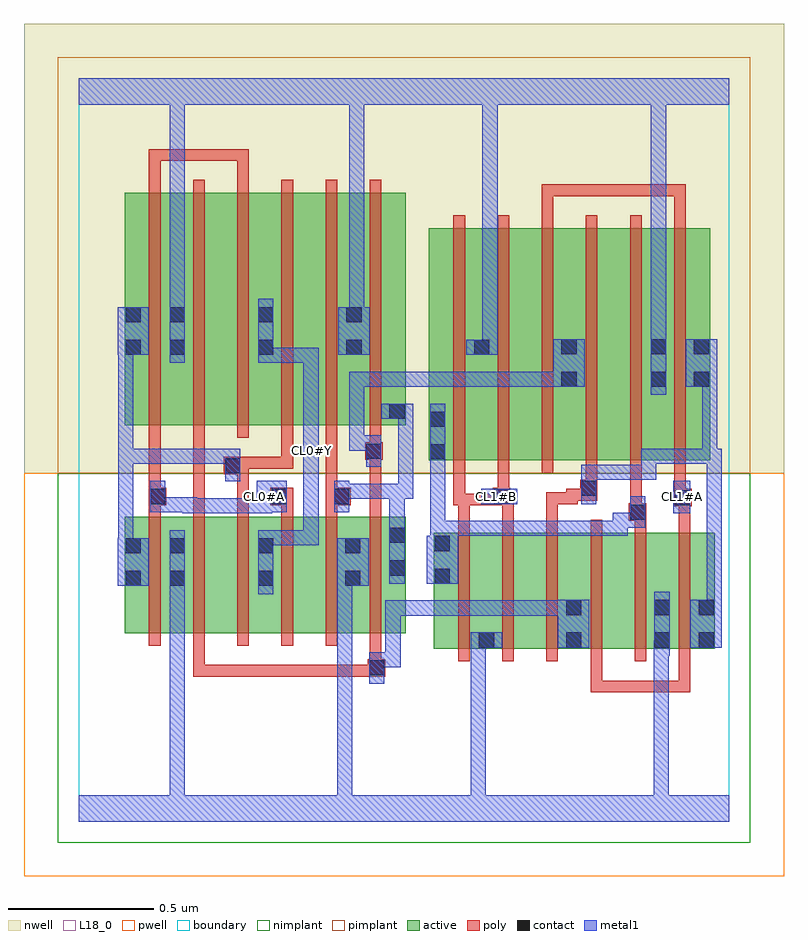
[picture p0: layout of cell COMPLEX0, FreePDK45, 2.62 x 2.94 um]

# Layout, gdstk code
import gdstk
lib = gdstk.Library(unit=1e-6, precision=1e-09)
def R(c, l, rs):  # rectangles x0, y0, x1, y1
    for r in rs: c.add(gdstk.rectangle(r[:2], r[2:], *l))
def A(c, l, x, y, w, h, nx, ny, dx, dy):  # array of equal rectangles
    R(c, l, [(x+i*dx, y+j*dy, x+i*dx+w, y+j*dy+h) for i in range(nx) for j in range(ny)])
active = (1, 0)
pwell = (2, 0)
nwell = (3, 0)
nimplant = (4, 0)
pimplant = (5, 0)
poly = (9, 0)
contact = (10, 0)
metal1 = (11, 0)
L18_0 = (18, 0)
boundary = (235, 0)

complex0 = lib.new_cell('COMPLEX0')
R(complex0, active, [(1.222,0.596,1.434,0.996), (1.374,0.596,1.554,0.996), (1.374,0.596,1.434,0.656), (1.554,0.596,1.734,0.996), (1.674,0.596,1.734,0.996), (1.674,0.596,1.858,0.996), (1.858,0.596,2.038,0.996), (1.978,0.596,2.19,0.996), (1.978,0.596,2.038,0.768), (2.13,0.596,2.19,0.996), (0.158,0.65,0.218,1.05), (0.158,0.65,0.37,1.05), (0.31,0.65,0.37,1.05), (0.31,0.65,0.49,1.05), (0.49,0.65,0.674,1.05), (0.614,0.65,0.794,1.05), (0.614,0.65,0.674,0.98), (0.794,0.65,0.974,1.05), (0.914,0.65,1.126,1.05), (0.914,0.756,0.974,0.98), (1.066,0.756,1.126,1.05), (1.222,0.756,1.282,0.996), (1.206,1.244,1.266,2.044), (1.206,1.244,1.418,2.044), (1.358,1.244,1.538,2.044), (1.538,1.244,1.718,2.044), (1.658,1.244,1.718,2.044), (1.658,1.244,1.842,2.044), (1.842,1.244,2.026,2.044), (1.966,1.244,2.026,2.044), (1.966,1.244,2.174,2.044), (2.114,1.244,2.174,2.044), (0.158,1.366,0.218,2.166), (0.158,1.366,0.37,2.166), (0.31,1.366,0.37,2.166), (0.31,1.366,0.49,2.166), (0.49,1.366,0.674,2.166), (0.614,1.366,0.794,2.166), (0.794,1.366,0.978,2.166), (0.918,1.366,1.126,2.166), (1.066,1.366,1.126,2.044), (0.918,1.384,0.978,2.044), (0.614,1.604,0.674,2.044), (1.358,1.604,1.418,2.044)])
R(complex0, pwell, [(-0.188,-0.188,2.428,1.2)])
R(complex0, nwell, [(-0.188,1.2,2.428,2.748)])
R(complex0, nimplant, [(-0.072,-0.072,2.312,1.2)])
R(complex0, pimplant, [(-0.072,1.2,2.312,2.632)])
A(complex0, poly, 1.306, 0.552, 0.04, 0.488, 6, 1, 0.152, 0)
A(complex0, poly, 0.242, 0.606, 0.04, 0.488, 6, 1, 0.152, 0)
A(complex0, poly, 1.29, 1.2, 0.04, 0.888, 6, 1, 0.152, 0)
A(complex0, poly, 0.242, 1.322, 0.04, 0.888, 6, 1, 0.152, 0)
R(complex0, poly, [(1.762,0.446,1.802,0.592), (1.762,0.446,1.802,0.486), (1.762,0.446,1.93,0.486), (1.89,0.446,1.93,0.486), (1.89,0.446,1.93,0.486), (1.89,0.446,1.93,0.486), (1.89,0.446,2.106,0.486), (2.066,0.446,2.106,0.592), (2.066,0.446,2.106,0.486), (2.066,0.446,2.106,0.486), (2.066,0.446,2.106,0.486), (0.394,0.5,0.434,0.646), (0.394,0.5,0.434,0.54), (0.394,0.5,0.434,0.54), (0.394,0.5,0.434,0.54), (0.394,0.5,0.54,0.54), (0.5,0.5,0.54,0.54), (0.5,0.5,0.784,0.54), (0.744,0.5,0.784,0.54), (0.744,0.5,0.784,0.54), (0.744,0.5,0.784,0.54), (0.744,0.5,0.92,0.54), (0.88,0.5,0.92,0.54), (0.88,0.5,0.92,0.54), (0.88,0.5,0.92,0.54), (0.88,0.5,1.036,0.54), (0.996,0.5,1.036,0.54), (0.996,0.5,1.036,0.54), (0.996,0.5,1.056,0.56), (1.002,0.52,1.042,0.646), (1.306,1,1.346,1.13), (1.458,1,1.498,1.13), (1.61,1,1.65,1.134), (1.914,1,1.954,1.076), (2.066,1,2.106,1.126), (1.894,1.036,1.954,1.096), (0.242,1.054,0.282,1.13), (0.394,1.054,0.434,1.13), (0.546,1.054,0.586,1.236), (0.698,1.054,0.738,1.13), (0.85,1.054,0.89,1.13), (1.002,1.054,1.042,1.286), (1.898,1.056,1.938,1.096), (1.898,1.056,1.938,1.096), (1.898,1.056,1.938,1.24), (2.05,1.086,2.11,1.146), (0.242,1.09,0.302,1.15), (0.394,1.09,0.434,1.13), (0.394,1.09,0.434,1.13), (0.394,1.09,0.434,1.13), (0.394,1.09,0.434,1.362), (0.66,1.09,0.738,1.15), (0.85,1.09,0.936,1.15), (1.29,1.09,1.33,1.24), (1.29,1.09,1.346,1.13), (1.306,1.09,1.346,1.13), (1.306,1.09,1.346,1.13), (1.306,1.09,1.346,1.13), (1.306,1.09,1.346,1.13), (1.306,1.09,1.486,1.13), (1.426,1.09,1.486,1.15), (1.446,1.09,1.486,1.13), (1.446,1.09,1.498,1.13), (1.61,1.094,1.65,1.134), (1.61,1.094,1.65,1.134), (1.61,1.094,1.65,1.134), (1.61,1.094,1.718,1.134), (1.678,1.094,1.718,1.146), (1.678,1.106,1.766,1.146), (1.726,1.106,1.786,1.178), (2.05,1.106,2.09,1.146), (2.05,1.106,2.09,1.146), (2.05,1.106,2.09,1.24), (0.242,1.11,0.282,1.15), (0.242,1.11,0.282,1.15), (0.242,1.11,0.282,1.362), (0.85,1.11,0.89,1.15), (0.85,1.11,0.89,1.15), (0.85,1.11,0.89,1.362), (1.442,1.11,1.482,1.24), (1.746,1.138,1.786,1.24), (0.5,1.196,0.586,1.256), (0.546,1.196,0.586,1.236), (0.546,1.196,0.586,1.236), (0.546,1.216,0.738,1.256), (0.698,1.216,0.738,1.362), (0.698,1.216,0.738,1.256), (0.698,1.216,0.738,1.256), (0.698,1.216,0.738,1.256), (0.986,1.246,1.046,1.306), (1.002,1.246,1.042,1.286), (1.002,1.246,1.042,1.286), (1.002,1.266,1.042,1.362), (1.594,2.048,1.634,2.194), (2.05,2.048,2.09,2.194), (1.594,2.154,1.634,2.194), (1.594,2.154,1.634,2.194), (1.594,2.154,1.634,2.194), (1.594,2.154,1.824,2.194), (1.784,2.154,1.824,2.194), (1.784,2.154,1.824,2.194), (1.784,2.154,1.824,2.194), (1.784,2.154,1.984,2.194), (1.944,2.154,1.984,2.194), (1.944,2.154,2.09,2.194), (2.05,2.154,2.09,2.194), (2.05,2.154,2.09,2.194), (2.05,2.154,2.09,2.194), (0.242,2.17,0.282,2.316), (0.546,2.17,0.586,2.316), (0.242,2.276,0.282,2.316), (0.242,2.276,0.282,2.316), (0.242,2.276,0.282,2.316), (0.242,2.276,0.434,2.316), (0.394,2.276,0.434,2.316), (0.394,2.276,0.434,2.316), (0.394,2.276,0.434,2.316), (0.394,2.276,0.586,2.316), (0.546,2.276,0.586,2.316)])
A(complex0, contact, 0.314, 1.608, 0.052, 0.052, 3, 2, 0.304, 0.112)
R(complex0, contact, [(1,0.504,1.052,0.556), (1.378,0.6,1.43,0.652), (1.678,0.6,1.73,0.652), (1.982,0.6,2.034,0.652), (2.134,0.6,2.186,0.652), (1.678,0.712,1.73,0.764), (1.982,0.712,2.034,0.764), (2.134,0.712,2.186,0.764), (0.162,0.812,0.214,0.864), (0.314,0.812,0.366,0.864), (0.618,0.812,0.67,0.864), (0.918,0.812,0.97,0.864), (1.226,0.82,1.278,0.872), (1.07,0.848,1.122,0.9), (0.162,0.924,0.214,0.976), (0.314,0.924,0.366,0.976), (0.618,0.924,0.67,0.976), (0.918,0.924,0.97,0.976), (1.226,0.932,1.278,0.984), (1.07,0.96,1.122,1.012), (1.898,1.04,1.95,1.092), (2.054,1.09,2.106,1.142), (0.246,1.094,0.298,1.146), (0.664,1.094,0.716,1.146), (0.88,1.094,0.932,1.146), (1.43,1.094,1.482,1.146), (1.73,1.122,1.782,1.174), (0.504,1.2,0.556,1.252), (1.21,1.248,1.262,1.3), (0.99,1.25,1.042,1.302), (1.21,1.36,1.262,1.412), (1.07,1.388,1.122,1.44), (1.662,1.498,1.714,1.55), (1.97,1.498,2.022,1.55), (2.118,1.498,2.17,1.55), (0.162,1.608,0.214,1.66), (1.362,1.608,1.414,1.66), (1.662,1.61,1.714,1.662), (1.97,1.61,2.022,1.662), (2.118,1.61,2.17,1.662), (0.162,1.72,0.214,1.772)])
R(complex0, metal1, [(0,0,2.24,0.092), (0.314,0.04,0.366,0.092), (0.314,0.04,0.366,0.092), (0.314,0.04,0.366,0.092), (0.314,0.04,0.366,0.092), (0.314,0.04,0.366,0.092), (0.314,0.04,0.366,0.092), (0.314,0.04,0.366,0.092), (0.314,0.04,0.366,0.092), (0.314,0.04,0.366,0.092), (0.314,0.04,0.366,0.092), (0.314,0.04,0.366,0.836), (0.89,0.04,0.942,0.092), (0.89,0.04,0.942,0.092), (0.89,0.04,0.942,0.092), (0.89,0.04,0.942,0.092), (0.89,0.04,0.942,0.092), (0.89,0.04,0.942,0.092), (0.89,0.04,0.942,0.092), (0.89,0.04,0.942,0.092), (0.89,0.04,0.942,0.092), (0.89,0.04,0.942,0.092), (0.89,0.04,0.942,0.092), (0.89,0.04,0.942,0.092), (0.89,0.04,0.942,0.864), (1.35,0.04,1.402,0.092), (1.35,0.04,1.402,0.092), (1.35,0.04,1.402,0.092), (1.35,0.04,1.402,0.092), (1.35,0.04,1.402,0.092), (1.35,0.04,1.402,0.092), (1.35,0.04,1.402,0.092), (1.35,0.04,1.402,0.092), (1.35,0.04,1.402,0.092), (1.35,0.04,1.402,0.092), (1.35,0.04,1.402,0.652), (1.98,0.04,2.032,0.092), (1.98,0.04,2.032,0.092), (1.98,0.04,2.032,0.092), (1.98,0.04,2.032,0.092), (1.98,0.04,2.032,0.092), (1.98,0.04,2.032,0.092), (1.98,0.04,2.032,0.624), (1,0.476,1.052,0.584), (1,0.532,1.108,0.584), (1.056,0.532,1.108,0.584), (1.056,0.532,1.108,0.584), (1.056,0.532,1.108,0.584), (1.056,0.532,1.108,0.762), (1.98,0.572,2.032,0.624), (1.98,0.572,2.032,0.624), (1.98,0.572,2.034,0.624), (1.982,0.572,2.034,0.624), (1.982,0.572,2.034,0.624), (1.982,0.572,2.034,0.624), (1.982,0.572,2.034,0.792), (1.35,0.6,1.402,0.652), (1.35,0.6,1.402,0.652), (1.35,0.6,1.458,0.652), (1.65,0.6,1.758,0.764), (2.106,0.6,2.214,0.764), (1.056,0.71,1.108,0.762), (1.056,0.71,1.108,0.762), (1.056,0.71,1.108,0.762), (1.056,0.71,1.276,0.762), (1.224,0.71,1.276,0.762), (1.224,0.71,1.276,0.762), (1.224,0.71,1.276,0.762), (1.224,0.71,1.416,0.762), (1.364,0.71,1.416,0.762), (1.364,0.71,1.416,0.762), (1.364,0.71,1.416,0.762), (1.364,0.71,1.416,0.762), (1.364,0.71,1.416,0.762), (1.364,0.71,1.526,0.762), (1.474,0.71,1.526,0.762), (1.474,0.71,1.526,0.762), (1.474,0.71,1.526,0.762), (1.474,0.71,1.702,0.762), (2.162,0.712,2.214,1.284), (2.162,0.712,2.214,0.764), (2.162,0.712,2.214,0.764), (0.314,0.784,0.366,0.836), (0.314,0.784,0.366,0.836), (0.314,0.784,0.366,1.004), (0.618,0.784,0.67,1.004), (0.134,0.812,0.242,0.976), (0.89,0.812,0.998,0.976), (1.07,0.82,1.122,1.04), (1.198,0.82,1.306,0.984), (0.136,0.924,0.188,1.284), (1.21,0.932,1.262,1.036), (0.618,0.952,0.67,1.004), (0.618,0.952,0.67,1.004), (0.618,0.952,0.826,1.004), (0.774,0.952,0.826,1.004), (0.774,0.952,0.826,1.278), (1.21,0.984,1.262,1.036), (1.21,0.984,1.262,1.036), (1.21,0.984,1.262,1.036), (1.21,0.984,1.416,1.036), (1.21,0.984,1.262,1.272), (1.364,0.984,1.416,1.036), (1.364,0.984,1.416,1.036), (1.364,0.984,1.416,1.036), (1.364,0.984,1.562,1.036), (1.51,0.984,1.562,1.036), (1.51,0.984,1.562,1.036), (1.51,0.984,1.562,1.036), (1.51,0.984,1.672,1.036), (1.62,0.984,1.672,1.036), (1.62,0.984,1.672,1.036), (1.62,0.984,1.672,1.036), (1.62,0.984,1.89,1.036), (1.838,0.984,1.89,1.064), (1.07,0.988,1.122,1.164), (1.838,1.012,1.95,1.064), (1.898,1.012,1.95,1.12), (0.356,1.062,0.408,1.118), (0.356,1.062,0.556,1.114), (0.504,1.062,0.556,1.114), (0.504,1.062,0.556,1.114), (0.504,1.062,0.556,1.114), (0.504,1.062,0.666,1.114), (0.614,1.062,0.666,1.118), (2.046,1.062,2.106,1.174), (0.246,1.066,0.298,1.174), (0.246,1.066,0.408,1.118), (0.356,1.066,0.408,1.118), (0.356,1.066,0.408,1.118), (0.614,1.066,0.666,1.118), (0.614,1.066,0.716,1.174), (0.88,1.066,0.932,1.174), (1.386,1.094,1.51,1.146), (1.73,1.094,1.782,1.202), (0.88,1.112,0.936,1.164), (0.884,1.112,0.936,1.164), (0.884,1.112,1.122,1.164), (1.07,1.112,1.122,1.164), (1.07,1.112,1.122,1.164), (1.07,1.112,1.152,1.164), (1.1,1.112,1.152,1.44), (1.73,1.15,1.782,1.202), (1.73,1.15,1.782,1.23), (0.504,1.172,0.556,1.28), (1.73,1.178,1.988,1.23), (1.936,1.178,1.988,1.284), (1.21,1.22,1.262,1.272), (1.21,1.22,1.262,1.272), (1.21,1.22,1.262,1.44), (0.99,1.222,1.042,1.33), (0.774,1.226,0.826,1.334), (0.504,1.228,0.556,1.28), (0.504,1.228,0.556,1.284), (0.136,1.232,0.188,1.284), (0.136,1.232,0.188,1.284), (0.136,1.232,0.188,1.284), (0.136,1.232,0.188,1.284), (0.136,1.232,0.188,1.284), (0.136,1.232,0.408,1.284), (0.136,1.232,0.188,1.66), (0.356,1.232,0.408,1.284), (0.356,1.232,0.408,1.284), (0.356,1.232,0.408,1.284), (0.356,1.232,0.556,1.284), (1.936,1.232,2,1.284), (1.948,1.232,2,1.284), (1.948,1.232,2.198,1.284), (2.146,1.232,2.198,1.55), (2.146,1.232,2.198,1.284), (2.146,1.232,2.198,1.284), (2.146,1.232,2.214,1.284), (0.932,1.278,0.984,1.33), (0.932,1.278,0.984,1.33), (0.932,1.278,0.984,1.33), (0.932,1.278,1.042,1.33), (0.932,1.278,0.984,1.55), (0.774,1.282,0.826,1.334), (0.774,1.282,0.826,1.334), (0.774,1.282,0.826,1.632), (1.042,1.388,1.152,1.44), (1.1,1.388,1.152,1.44), (1.1,1.388,1.152,1.44), (1.97,1.47,2.022,1.69), (0.932,1.498,0.984,1.55), (0.932,1.498,1.112,1.55), (1.06,1.498,1.112,1.55), (1.06,1.498,1.112,1.55), (1.06,1.498,1.112,1.55), (1.06,1.498,1.276,1.55), (1.224,1.498,1.276,1.55), (1.224,1.498,1.276,1.55), (1.224,1.498,1.276,1.55), (1.224,1.498,1.416,1.55), (1.364,1.498,1.416,1.55), (1.364,1.498,1.416,1.55), (1.364,1.498,1.416,1.55), (1.364,1.498,1.416,1.55), (1.364,1.498,1.416,1.55), (1.364,1.498,1.526,1.55), (1.474,1.498,1.526,1.55), (1.474,1.498,1.526,1.55), (1.474,1.498,1.526,1.55), (1.474,1.498,1.686,1.55), (1.634,1.498,1.742,1.662), (2.09,1.498,2.198,1.662), (0.314,1.58,0.366,1.8), (0.618,1.58,0.67,1.632), (0.618,1.58,0.67,1.632), (0.618,1.58,0.67,1.8), (0.618,1.58,0.826,1.632), (0.774,1.58,0.826,1.632), (0.134,1.608,0.242,1.772), (0.894,1.608,1.002,1.772), (1.334,1.608,1.442,1.66), (1.39,1.608,1.442,1.66), (1.39,1.608,1.442,1.66), (1.39,1.608,1.442,1.66), (1.39,1.608,1.442,1.66), (1.39,1.608,1.442,1.66), (1.39,1.608,1.442,1.66), (1.39,1.608,1.442,2.52), (1.97,1.638,2.022,1.69), (1.97,1.638,2.022,1.69), (1.97,1.638,2.022,1.69), (1.97,1.638,2.022,1.69), (1.97,1.638,2.022,1.69), (1.97,1.638,2.022,1.69), (1.97,1.638,2.022,2.52), (0.932,1.72,0.984,2.52), (0.314,1.748,0.366,2.52), (0,2.468,2.24,2.56), (0.314,2.468,0.366,2.52), (0.314,2.468,0.366,2.52), (0.314,2.468,0.366,2.52), (0.314,2.468,0.366,2.52), (0.314,2.468,0.366,2.52), (0.314,2.468,0.366,2.52), (0.314,2.468,0.366,2.52), (0.314,2.468,0.366,2.52), (0.932,2.468,0.984,2.52), (0.932,2.468,0.984,2.52), (0.932,2.468,0.984,2.52), (0.932,2.468,0.984,2.52), (0.932,2.468,0.984,2.52), (0.932,2.468,0.984,2.52), (0.932,2.468,0.984,2.52), (0.932,2.468,0.984,2.52), (1.39,2.468,1.442,2.52), (1.39,2.468,1.442,2.52), (1.97,2.468,2.022,2.52), (1.97,2.468,2.022,2.52)])
R(complex0, L18_0, [(0,0,2.24,0.092), (0.314,0.04,0.366,0.092), (0.314,0.04,0.366,0.092), (0.314,0.04,0.366,0.092), (0.314,0.04,0.366,0.092), (0.314,0.04,0.366,0.092), (0.314,0.04,0.366,0.092), (0.314,0.04,0.366,0.092), (0.314,0.04,0.366,0.092), (0.314,0.04,0.366,0.092), (0.314,0.04,0.366,0.092), (0.314,0.04,0.366,0.836), (0.89,0.04,0.942,0.092), (0.89,0.04,0.942,0.092), (0.89,0.04,0.942,0.092), (0.89,0.04,0.942,0.092), (0.89,0.04,0.942,0.092), (0.89,0.04,0.942,0.092), (0.89,0.04,0.942,0.092), (0.89,0.04,0.942,0.092), (0.89,0.04,0.942,0.092), (0.89,0.04,0.942,0.092), (0.89,0.04,0.942,0.092), (0.89,0.04,0.942,0.092), (0.89,0.04,0.942,0.864), (1.35,0.04,1.402,0.092), (1.35,0.04,1.402,0.092), (1.35,0.04,1.402,0.092), (1.35,0.04,1.402,0.092), (1.35,0.04,1.402,0.092), (1.35,0.04,1.402,0.092), (1.35,0.04,1.402,0.092), (1.35,0.04,1.402,0.092), (1.35,0.04,1.402,0.092), (1.35,0.04,1.402,0.092), (1.35,0.04,1.402,0.652), (1.98,0.04,2.032,0.092), (1.98,0.04,2.032,0.092), (1.98,0.04,2.032,0.092), (1.98,0.04,2.032,0.092), (1.98,0.04,2.032,0.092), (1.98,0.04,2.032,0.092), (1.98,0.04,2.032,0.624), (1.98,0.572,2.032,0.624), (1.98,0.572,2.032,0.624), (1.98,0.572,2.034,0.624), (1.982,0.572,2.034,0.624), (1.982,0.572,2.034,0.624), (1.982,0.572,2.034,0.624), (1.982,0.572,2.034,0.792), (1.35,0.6,1.402,0.652), (1.35,0.6,1.402,0.652), (1.35,0.6,1.458,0.652), (0.314,0.784,0.366,0.836), (0.314,0.784,0.366,0.836), (0.314,0.784,0.366,1.004), (0.618,0.784,0.67,1.004), (0.89,0.812,0.998,0.976), (0.618,0.952,0.67,1.004), (0.618,0.952,0.67,1.004), (0.618,0.952,0.826,1.004), (0.774,0.952,0.826,1.004), (0.774,0.952,0.826,1.278), (0.356,1.062,0.408,1.118), (0.356,1.062,0.556,1.114), (0.504,1.062,0.556,1.114), (0.504,1.062,0.556,1.114), (0.504,1.062,0.556,1.114), (0.504,1.062,0.666,1.114), (0.614,1.062,0.666,1.118), (2.046,1.062,2.106,1.174), (0.246,1.066,0.298,1.174), (0.246,1.066,0.408,1.118), (0.356,1.066,0.408,1.118), (0.356,1.066,0.408,1.118), (0.614,1.066,0.666,1.118), (0.614,1.066,0.716,1.174), (0.614,1.094,0.666,1.146), (1.386,1.094,1.51,1.146), (1.414,1.094,1.466,1.146), (2.054,1.094,2.106,1.146), (0.774,1.226,0.826,1.334), (0.774,1.254,0.826,1.306), (0.774,1.282,0.826,1.334), (0.774,1.282,0.826,1.334), (0.774,1.282,0.826,1.632), (1.97,1.47,2.022,1.69), (0.314,1.58,0.366,1.8), (0.618,1.58,0.67,1.632), (0.618,1.58,0.67,1.632), (0.618,1.58,0.67,1.8), (0.618,1.58,0.826,1.632), (0.774,1.58,0.826,1.632), (0.894,1.608,1.002,1.772), (1.334,1.608,1.442,1.66), (1.39,1.608,1.442,1.66), (1.39,1.608,1.442,1.66), (1.39,1.608,1.442,1.66), (1.39,1.608,1.442,1.66), (1.39,1.608,1.442,1.66), (1.39,1.608,1.442,1.66), (1.39,1.608,1.442,2.52), (1.97,1.638,2.022,1.69), (1.97,1.638,2.022,1.69), (1.97,1.638,2.022,1.69), (1.97,1.638,2.022,1.69), (1.97,1.638,2.022,1.69), (1.97,1.638,2.022,1.69), (1.97,1.638,2.022,2.52), (0.932,1.72,0.984,2.52), (0.314,1.748,0.366,2.52), (0,2.468,2.24,2.56), (0.314,2.468,0.366,2.52), (0.314,2.468,0.366,2.52), (0.314,2.468,0.366,2.52), (0.314,2.468,0.366,2.52), (0.314,2.468,0.366,2.52), (0.314,2.468,0.366,2.52), (0.314,2.468,0.366,2.52), (0.314,2.468,0.366,2.52), (0.932,2.468,0.984,2.52), (0.932,2.468,0.984,2.52), (0.932,2.468,0.984,2.52), (0.932,2.468,0.984,2.52), (0.932,2.468,0.984,2.52), (0.932,2.468,0.984,2.52), (0.932,2.468,0.984,2.52), (0.932,2.468,0.984,2.52), (1.39,2.468,1.442,2.52), (1.39,2.468,1.442,2.52), (1.97,2.468,2.022,2.52), (1.97,2.468,2.022,2.52)])
R(complex0, boundary, [(0,0,2.24,2.56)])
complex0.add(gdstk.Label('CL0#A', (0.64,1.12), layer=11, texttype=0))
complex0.add(gdstk.Label('CL0#Y', (0.8,1.28), layer=11, texttype=0))
complex0.add(gdstk.Label('CL1#A', (2.08,1.12), layer=11, texttype=0))
complex0.add(gdstk.Label('CL1#B', (1.44,1.12), layer=11, texttype=0))

lib.write_gds('COMPLEX0.gds')
